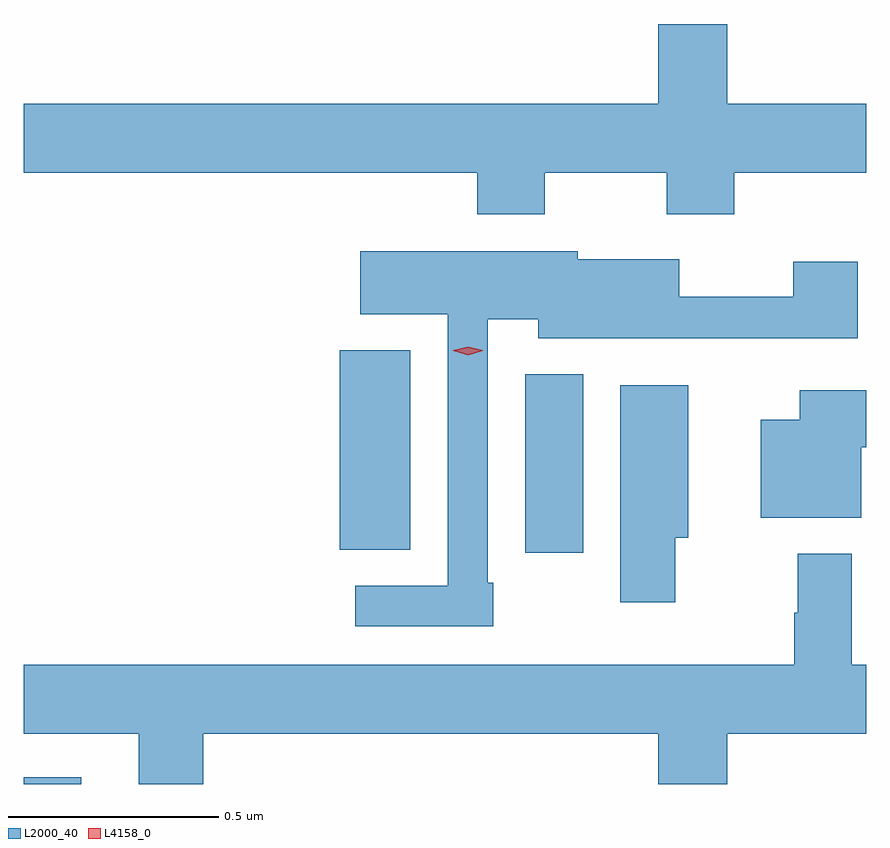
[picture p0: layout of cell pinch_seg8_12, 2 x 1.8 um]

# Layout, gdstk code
import gdstk
lib = gdstk.Library(unit=1e-6, precision=1e-09)
def R(c, l, rs):  # rectangles x0, y0, x1, y1
    for r in rs: c.add(gdstk.rectangle(r[:2], r[2:], *l))
def P(c, l, *ps):  # polygons
    for p in ps: c.add(gdstk.Polygon(p, *l))
L2000_40 = (2000, 40)
L4158_0 = (4158, 0)

pinch_seg8_12 = lib.new_cell('pinch_seg8_12')
R(pinch_seg8_12, L2000_40, [(1038.626,1156.341,1038.763,1156.357), (1039.817,1156.89,1039.954,1157.314), (1039.376,1156.897,1039.543,1157.371)])
P(pinch_seg8_12, L2000_40, [(1039.863,1157.792),(1040.152,1157.792),(1040.152,1157.693),(1040.312,1157.693),(1040.312,1157.792),(1040.626,1157.792),(1040.626,1157.956),(1040.296,1157.956),(1040.296,1158.145),(1040.132,1158.145),(1040.132,1157.956),(1038.626,1157.956),(1038.626,1157.792),(1039.703,1157.792),(1039.703,1157.693),(1039.863,1157.693)],
  [(1039.741,1156.819),(1039.728,1156.819),(1039.728,1157.444),(1039.847,1157.444),(1039.847,1157.399),(1040.606,1157.399),(1040.606,1157.581),(1040.453,1157.581),(1040.453,1157.498),(1040.182,1157.498),(1040.182,1157.587),(1039.941,1157.587),(1039.941,1157.605),(1039.425,1157.605),(1039.425,1157.456),(1039.632,1157.456),(1039.632,1156.812),(1039.413,1156.812),(1039.413,1156.716),(1039.741,1156.716)],
  [(1040.172,1156.925),(1040.203,1156.925),(1040.203,1157.287),(1040.042,1157.287),(1040.042,1156.773),(1040.172,1156.773)],
  [(1040.614,1157.14),(1040.626,1157.14),(1040.626,1157.276),(1040.468,1157.276),(1040.468,1157.206),(1040.375,1157.206),(1040.375,1156.973),(1040.614,1156.973)],
  [(1039.052,1156.46),(1040.132,1156.46),(1040.132,1156.341),(1040.296,1156.341),(1040.296,1156.46),(1040.626,1156.46),(1040.626,1156.624),(1040.591,1156.624),(1040.591,1156.888),(1040.463,1156.888),(1040.463,1156.748),(1040.455,1156.748),(1040.455,1156.624),(1038.626,1156.624),(1038.626,1156.46),(1038.899,1156.46),(1038.899,1156.341),(1039.052,1156.341)])
P(pinch_seg8_12, L4158_0, [(1039.681,1157.359),(1039.646,1157.369),(1039.646,1157.369),(1039.646,1157.37),(1039.681,1157.379),(1039.716,1157.37),(1039.716,1157.369),(1039.716,1157.369)])

lib.write_gds('pinch_seg8_12.gds')
